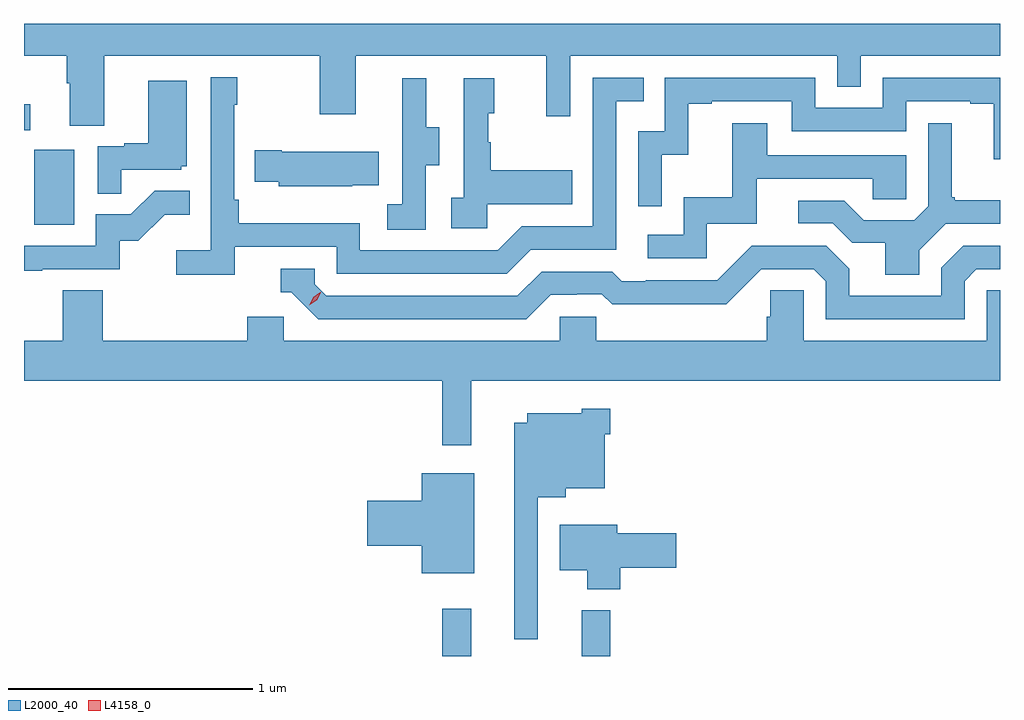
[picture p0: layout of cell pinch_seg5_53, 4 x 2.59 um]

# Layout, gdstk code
import gdstk
lib = gdstk.Library(unit=1e-6, precision=1e-09)
def R(c, l, rs):  # rectangles x0, y0, x1, y1
    for r in rs: c.add(gdstk.rectangle(r[:2], r[2:], *l))
def P(c, l, *ps):  # polygons
    for p in ps: c.add(gdstk.Polygon(p, *l))
L2000_40 = (2000, 40)
L4158_0 = (4158, 0)

pinch_seg5_53 = lib.new_cell('pinch_seg5_53')
R(pinch_seg5_53, L2000_40, [(1103.611,912.907,1103.729,913.102), (1104.182,912.907,1104.299,913.096), (1101.938,914.676,1102.102,914.983), (1101.897,915.063,1101.922,915.169)])
P(pinch_seg5_53, L2000_40, [(1102.225,915.368),(1103.11,915.368),(1103.11,915.129),(1103.257,915.129),(1103.257,915.368),(1104.038,915.368),(1104.038,915.12),(1104.135,915.12),(1104.135,915.368),(1105.23,915.368),(1105.23,915.241),(1105.326,915.241),(1105.326,915.368),(1105.897,915.368),(1105.897,915.5),(1101.897,915.5),(1101.897,915.368),(1102.073,915.368),(1102.073,915.256),(1102.085,915.256),(1102.085,915.082),(1102.225,915.082)],
  [(1102.76,914.586),(1103.178,914.586),(1103.178,914.475),(1103.875,914.475),(1103.974,914.574),(1104.324,914.574),(1104.324,915.183),(1104.437,915.183),(1104.437,915.279),(1104.228,915.279),(1104.228,914.67),(1103.937,914.67),(1103.838,914.571),(1103.274,914.571),(1103.274,914.683),(1102.778,914.683),(1102.778,914.779),(1102.758,914.779),(1102.758,915.167),(1102.771,915.167),(1102.771,915.28),(1102.662,915.28),(1102.662,914.572),(1102.521,914.572),(1102.521,914.47),(1102.76,914.47)],
  [(1104.51,914.963),(1104.62,914.963),(1104.62,915.171),(1104.715,915.171),(1104.715,915.183),(1105.044,915.183),(1105.044,915.06),(1105.512,915.06),(1105.512,915.183),(1105.775,915.183),(1105.775,915.171),(1105.871,915.171),(1105.871,914.945),(1105.897,914.945),(1105.897,915.279),(1105.416,915.279),(1105.416,915.156),(1105.14,915.156),(1105.14,915.279),(1104.522,915.279),(1104.522,915.06),(1104.414,915.06),(1104.414,914.751),(1104.51,914.751)],
  [(1103.796,914.759),(1104.143,914.759),(1104.143,914.899),(1103.809,914.899),(1103.809,915.014),(1103.799,915.014),(1103.799,915.132),(1103.824,915.132),(1103.824,915.277),(1103.7,915.277),(1103.7,914.786),(1103.649,914.786),(1103.649,914.661),(1103.796,914.661)],
  [(1103.544,914.92),(1103.599,914.92),(1103.599,915.075),(1103.545,915.075),(1103.545,915.277),(1103.447,915.277),(1103.447,915.063),(1103.448,915.063),(1103.448,914.759),(1103.385,914.759),(1103.385,914.656),(1103.544,914.656)],
  [(1102.295,914.901),(1102.542,914.901),(1102.542,914.916),(1102.564,914.916),(1102.564,915.265),(1102.406,915.265),(1102.406,915.01),(1102.307,915.01),(1102.307,914.997),(1102.2,914.997),(1102.2,914.803),(1102.295,914.803)],
  [(1104.696,914.679),(1104.901,914.679),(1104.901,914.865),(1105.375,914.865),(1105.375,914.781),(1105.512,914.781),(1105.512,914.961),(1104.943,914.961),(1104.943,915.091),(1104.799,915.091),(1104.799,914.788),(1104.6,914.788),(1104.6,914.634),(1104.453,914.634),(1104.453,914.538),(1104.696,914.538)],
  [(1105.567,914.572),(1105.674,914.679),(1105.897,914.679),(1105.897,914.776),(1105.711,914.776),(1105.711,914.788),(1105.699,914.788),(1105.699,915.091),(1105.602,915.091),(1105.602,914.751),(1105.545,914.694),(1105.339,914.694),(1105.258,914.775),(1105.071,914.775),(1105.071,914.682),(1105.212,914.682),(1105.292,914.602),(1105.427,914.602),(1105.427,914.47),(1105.567,914.47)],
  [(1103.243,914.837),(1103.351,914.837),(1103.351,914.974),(1102.954,914.974),(1102.954,914.982),(1102.843,914.982),(1102.843,914.852),(1102.941,914.852),(1102.941,914.834),(1103.243,914.834)],
  [(1101.971,914.493),(1102.29,914.493),(1102.29,914.61),(1102.366,914.61),(1102.473,914.717),(1102.577,914.717),(1102.577,914.816),(1102.433,914.816),(1102.335,914.718),(1102.191,914.718),(1102.191,914.589),(1101.897,914.589),(1101.897,914.488),(1101.971,914.488)],
  [(1104.055,914.388),(1104.162,914.388),(1104.162,914.391),(1104.265,914.391),(1104.307,914.349),(1104.54,914.349),(1104.54,914.351),(1104.776,914.351),(1104.918,914.493),(1105.134,914.493),(1105.182,914.445),(1105.182,914.289),(1105.752,914.289),(1105.752,914.445),(1105.8,914.493),(1105.897,914.493),(1105.897,914.589),(1105.746,914.589),(1105.656,914.499),(1105.656,914.385),(1105.279,914.385),(1105.279,914.495),(1105.185,914.589),(1104.879,914.589),(1104.738,914.448),(1104.445,914.448),(1104.445,914.445),(1104.346,914.445),(1104.307,914.484),(1104.018,914.484),(1103.919,914.385),(1103.136,914.385),(1103.088,914.433),(1103.088,914.496),(1102.949,914.496),(1102.949,914.4),(1102.992,914.4),(1103.103,914.289),(1103.956,914.289)],
  [(1103.73,914.036),(1105.897,914.036),(1105.897,914.408),(1105.842,914.408),(1105.842,914.2),(1105.092,914.2),(1105.092,914.408),(1104.955,914.408),(1104.955,914.298),(1104.941,914.298),(1104.941,914.2),(1104.243,914.2),(1104.243,914.298),(1104.093,914.298),(1104.093,914.2),(1102.962,914.2),(1102.962,914.298),(1102.811,914.298),(1102.811,914.2),(1102.22,914.2),(1102.22,914.408),(1102.055,914.408),(1102.055,914.2),(1101.897,914.2),(1101.897,914.036),(1103.611,914.036),(1103.611,913.773),(1103.73,913.773)],
  [(1104.003,913.559),(1104.118,913.559),(1104.118,913.595),(1104.277,913.595),(1104.277,913.817),(1104.299,913.817),(1104.299,913.921),(1104.183,913.921),(1104.183,913.903),(1103.96,913.903),(1103.96,913.864),(1103.906,913.864),(1103.906,912.978),(1104.003,912.978)],
  [(1103.743,913.657),(1103.528,913.657),(1103.528,913.544),(1103.304,913.544),(1103.304,913.361),(1103.528,913.361),(1103.528,913.247),(1103.743,913.247)],
  [(1104.341,913.27),(1104.571,913.27),(1104.571,913.412),(1104.328,913.412),(1104.328,913.447),(1104.092,913.447),(1104.092,913.259),(1104.206,913.259),(1104.206,913.181),(1104.341,913.181)])
P(pinch_seg5_53, L4158_0, [(1103.066,914.346),(1103.066,914.346),(1103.082,914.379),(1103.112,914.399),(1103.113,914.399),(1103.113,914.398),(1103.097,914.366),(1103.066,914.346)])

lib.write_gds('pinch_seg5_53.gds')
